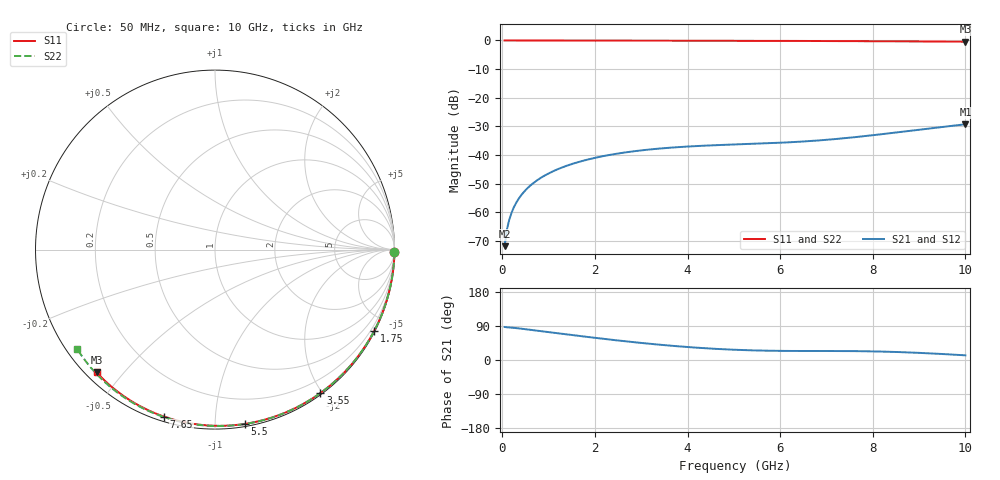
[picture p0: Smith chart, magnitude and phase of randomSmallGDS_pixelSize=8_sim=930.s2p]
! freq	dB(S11)	phase(S11)	dB(S12)	phase(S12)
!  dB(S21)	phase(S21)	dB(S22)	phase(S22)
!S-par simulation data
#  GHz  S  DB  R 50
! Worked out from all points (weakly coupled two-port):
!   200 points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, 50 MHz to 10 GHz, reference 50 ohm
!   highest |S21| = -29.27 dB at 10 GHz (marker M1); lowest = -71.8 dB at 50 MHz (marker M2)
!   lowest |S11| = -0.4 dB at 10 GHz (marker M3), VSWR 39.13, Z = 1.51 - j21.2 ohm
!   |S11| at or under -10 dB: nowhere
!   |S22| runs from -0.5 to 0.0 dB; largest |S21 - S12| = 0
!   S11 on the Smith chart (normalised r, x): 50 MHz: open; 1.75 GHz: 0.04, -4.14; 3.55 GHz: 0.02, -1.97; 5.5 GHz: 0.02, -1.19; 7.65 GHz: 0.02, -0.74; 10 GHz: 0.03, -0.42
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0.05  -0.00 -0.8  -71.85 87.1  -71.85 87.1  -0.00 -0.9
0.1  -0.00 -1.6  -66.05 86.4  -66.05 86.4  -0.00 -1.7
0.15  -0.00 -2.4  -62.62 85.9  -62.62 85.9  -0.00 -2.6
0.2  -0.00 -3.2  -60.17 85.4  -60.17 85.4  -0.00 -3.4
0.25  -0.00 -3.9  -58.26 84.8  -58.26 84.8  -0.00 -4.3
0.35  -0.00 -5.5  -55.37 83.5  -55.37 83.5  -0.00 -6.0
0.5  -0.01 -7.9  -52.31 81.3  -52.31 81.3  -0.01 -8.5
0.7  -0.01 -11.0  -49.44 78.3  -49.44 78.3  -0.01 -11.9
1  -0.02 -15.6  -46.45 73.6  -46.45 73.6  -0.02 -16.9
1.35  -0.03 -21.0  -44.00 68.2  -44.00 68.2  -0.03 -22.7
1.75  -0.03 -27.2  -41.98 62.2  -41.98 62.2  -0.04 -29.3
2.5  -0.05 -38.4  -39.48 51.5  -39.48 51.5  -0.05 -41.5
3.4  -0.07 -51.6  -37.74 40.3  -37.74 40.3  -0.07 -55.6
3.55  -0.07 -53.7  -37.54 38.7  -37.54 38.7  -0.08 -57.9
4.3  -0.09 -64.2  -36.79 31.7  -36.79 31.7  -0.10 -69.2
5.05  -0.11 -74.4  -36.31 26.9  -36.31 26.9  -0.12 -80.0
5.5  -0.13 -80.3  -36.05 25.1  -36.05 25.1  -0.14 -86.4
6.7  -0.18 -95.5  -35.07 23.7  -35.07 23.7  -0.20 -102.6
7.65  -0.24 -107.0  -33.71 23.4  -33.71 23.4  -0.26 -114.9
8.35  -0.29 -115.2  -32.44 21.7  -32.44 21.7  -0.31 -123.8
9.2  -0.36 -124.9  -30.80 17.7  -30.80 17.7  -0.39 -134.3
10  -0.44 -134.0  -29.27 12.3  -29.27 12.3  -0.48 -144.2
